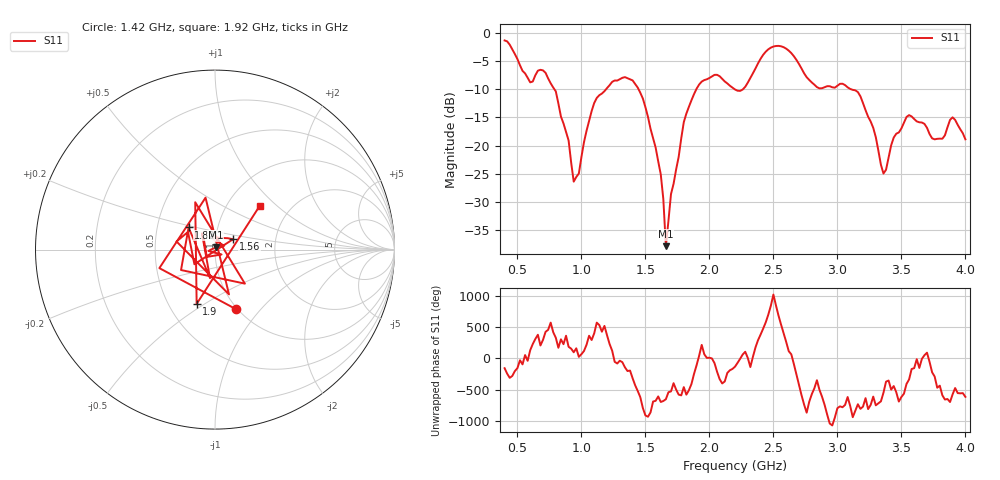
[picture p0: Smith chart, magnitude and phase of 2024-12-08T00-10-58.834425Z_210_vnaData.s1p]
!Created with skrf (http://scikit-rf.org).
# Hz S RI R 50.0
!freq ReS11 ImS11
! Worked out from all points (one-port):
!   181 points, 400 MHz to 4 GHz, reference 50 ohm
!   lowest |S11| = -37.9 dB at 1.66 GHz (marker M1), VSWR 1.03, Z = 50.5 + j1.19 ohm
!   |S11| at or under -10 dB: 788.4 MHz to 1.193 GHz (404.7 MHz wide, 40.8 % of centre); 1.446 GHz to 1.898 GHz (452 MHz wide, 27 % of centre); 3.105 GHz to end of sweep (the widest 3 of 4)
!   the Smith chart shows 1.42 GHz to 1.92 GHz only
!   S11 on the Smith chart (normalised r, x): 1.42 GHz: 0.98, -0.74; 1.56 GHz: 1.21, +0.14; 1.82 GHz: 0.72, +0.19; 1.9 GHz: 0.69, -0.46; 1.92 GHz: 1.41, +0.78
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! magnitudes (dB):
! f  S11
! 400 MHz  -1.4
! 600 MHz  -8.8
! 720 MHz  -7.1
! 860 MHz  -16.1
! 940 MHz  -26.4
! 1.1 GHz  -12.5
! 1.3 GHz  -8.2
! 1.42 GHz  -9.1
! 1.56 GHz  -18.7
! 1.62 GHz  -25.1
! 1.66 GHz  -37.9
! 1.7 GHz  -28.6
! 1.76 GHz  -22.0
! 1.82 GHz  -14.3
! 1.9 GHz  -9.9
! 1.92 GHz  -9.2
! 2.2 GHz  -10.1
! 2.48 GHz  -2.6
! 2.66 GHz  -4.2
! 2.84 GHz  -9.6
! 3.1 GHz  -10.0
! 3.28 GHz  -16.9
! 3.36 GHz  -25.0
! 3.44 GHz  -18.6
! 3.56 GHz  -14.6
! 3.76 GHz  -18.9
! 3.9 GHz  -15.0
! 4 GHz  -18.9
